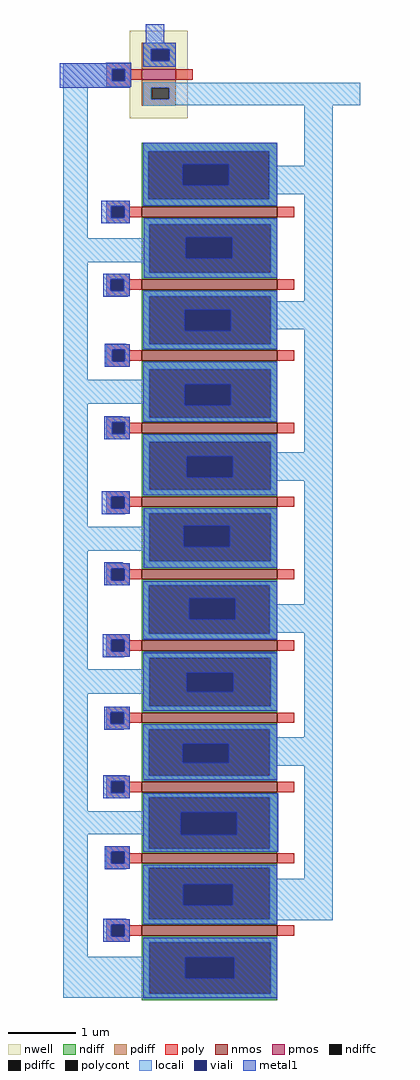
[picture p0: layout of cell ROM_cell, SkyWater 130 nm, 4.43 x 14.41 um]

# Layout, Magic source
magic
tech sky130A
<< nwell >>
rect -158 379 -72 508
<< nmos >>
rect -140 233 60 248
rect -140 126 60 141
rect -140 21 60 36
rect -140 -86 60 -71
rect -140 -195 60 -180
rect -140 -302 60 -287
rect -140 -407 60 -392
rect -140 -514 60 -499
rect -140 -616 60 -601
rect -140 -721 60 -706
rect -140 -828 60 -813
<< pmos >>
rect -140 436 -90 451
<< ndiff >>
rect -140 330 60 343
rect -140 259 -131 330
rect 48 259 60 330
rect -140 248 60 259
rect -140 222 60 233
rect -140 151 -129 222
rect 50 151 60 222
rect -140 141 60 151
rect -140 116 60 126
rect -140 45 -129 116
rect 50 45 60 116
rect -140 36 60 45
rect -140 8 60 21
rect -140 -63 -129 8
rect 50 -63 60 8
rect -140 -71 60 -63
rect -140 -99 60 -86
rect -140 -170 -129 -99
rect 50 -170 60 -99
rect -140 -180 60 -170
rect -140 -204 60 -195
rect -140 -275 -129 -204
rect 50 -275 60 -204
rect -140 -287 60 -275
rect -140 -311 60 -302
rect -140 -382 -130 -311
rect 49 -382 60 -311
rect -140 -392 60 -382
rect -140 -418 60 -407
rect -140 -489 -129 -418
rect 50 -489 60 -418
rect -140 -499 60 -489
rect -140 -523 60 -514
rect -140 -592 -130 -523
rect 49 -592 60 -523
rect -140 -601 60 -592
rect -140 -624 60 -616
rect -140 -700 -130 -624
rect 49 -700 60 -624
rect -140 -706 60 -700
rect -140 -728 60 -721
rect -140 -804 -130 -728
rect 49 -804 60 -728
rect -140 -813 60 -804
rect -140 -838 60 -828
rect -140 -914 -129 -838
rect 50 -914 60 -838
rect -140 -923 60 -914
<< pdiff >>
rect -140 481 -90 490
rect -140 464 -126 481
rect -100 464 -90 481
rect -140 451 -90 464
rect -140 424 -90 436
rect -140 407 -126 424
rect -100 407 -90 424
rect -140 397 -90 407
<< ndiffc >>
rect -131 259 48 330
rect -129 151 50 222
rect -129 45 50 116
rect -129 -63 50 8
rect -129 -170 50 -99
rect -129 -275 50 -204
rect -130 -382 49 -311
rect -129 -489 50 -418
rect -130 -592 49 -523
rect -130 -700 49 -624
rect -130 -804 49 -728
rect -129 -914 50 -838
<< pdiffc >>
rect -126 464 -100 481
rect -126 407 -100 424
<< poly >>
rect -193 451 -156 460
rect -193 434 -184 451
rect -165 436 -140 451
rect -90 436 -65 451
rect -165 434 -156 436
rect -193 425 -156 434
rect -193 249 -158 257
rect -193 232 -185 249
rect -166 248 -158 249
rect -166 233 -140 248
rect 60 233 85 248
rect -166 232 -158 233
rect -193 224 -158 232
rect -193 141 -158 149
rect -193 124 -186 141
rect -167 126 -140 141
rect 60 126 85 141
rect -167 124 -158 126
rect -193 116 -158 124
rect -193 37 -158 45
rect -193 20 -184 37
rect -165 36 -158 37
rect -165 21 -140 36
rect 60 21 85 36
rect -165 20 -158 21
rect -193 12 -158 20
rect -193 -70 -158 -62
rect -193 -87 -184 -70
rect -165 -71 -158 -70
rect -165 -86 -140 -71
rect 60 -86 85 -71
rect -165 -87 -158 -86
rect -193 -95 -158 -87
rect -193 -180 -158 -172
rect -193 -197 -185 -180
rect -166 -195 -140 -180
rect 60 -195 85 -180
rect -166 -197 -158 -195
rect -193 -205 -158 -197
rect -193 -286 -158 -278
rect -193 -303 -185 -286
rect -166 -287 -158 -286
rect -166 -302 -140 -287
rect 60 -302 85 -287
rect -166 -303 -158 -302
rect -193 -311 -158 -303
rect -193 -391 -158 -383
rect -193 -408 -185 -391
rect -166 -392 -158 -391
rect -166 -407 -140 -392
rect 60 -407 85 -392
rect -166 -408 -158 -407
rect -193 -416 -158 -408
rect -193 -498 -158 -490
rect -193 -515 -186 -498
rect -167 -499 -158 -498
rect -167 -514 -140 -499
rect 60 -514 85 -499
rect -167 -515 -158 -514
rect -193 -523 -158 -515
rect -193 -600 -158 -592
rect -193 -617 -185 -600
rect -166 -601 -158 -600
rect -166 -616 -140 -601
rect 60 -616 85 -601
rect -166 -617 -158 -616
rect -193 -625 -158 -617
rect -193 -704 -158 -696
rect -193 -721 -185 -704
rect -166 -706 -158 -704
rect -166 -721 -140 -706
rect 60 -721 85 -706
rect -193 -729 -158 -721
rect -193 -812 -158 -804
rect -193 -829 -185 -812
rect -166 -813 -158 -812
rect -166 -828 -140 -813
rect 60 -828 85 -813
rect -166 -829 -158 -828
rect -193 -837 -158 -829
<< polycont >>
rect -184 434 -165 451
rect -185 232 -166 249
rect -186 124 -167 141
rect -184 20 -165 37
rect -184 -87 -165 -70
rect -185 -197 -166 -180
rect -185 -303 -166 -286
rect -185 -408 -166 -391
rect -186 -515 -167 -498
rect -185 -617 -166 -600
rect -185 -721 -166 -704
rect -185 -829 -166 -812
<< locali >>
rect -138 481 -90 490
rect -138 464 -126 481
rect -100 464 -90 481
rect -256 451 -156 460
rect -138 455 -90 464
rect -256 434 -184 451
rect -165 434 -156 451
rect -256 425 -156 434
rect -138 431 -90 432
rect -256 424 -192 425
rect -138 424 182 431
rect -256 202 -220 424
rect -138 407 -126 424
rect -100 407 182 424
rect -138 398 182 407
rect -138 397 -90 398
rect -138 330 60 343
rect -138 259 -131 330
rect 48 309 60 330
rect 100 309 142 398
rect 48 267 142 309
rect 48 259 60 267
rect -193 249 -158 257
rect -138 250 60 259
rect -193 232 -185 249
rect -166 232 -158 249
rect -193 224 -158 232
rect -137 222 60 231
rect -137 202 -129 222
rect -256 166 -129 202
rect -256 -7 -220 166
rect -141 165 -129 166
rect -137 151 -129 165
rect 50 151 60 222
rect -193 141 -158 149
rect -137 143 60 151
rect -193 124 -186 141
rect -167 124 -158 141
rect -193 116 -158 124
rect -138 116 60 124
rect -138 45 -129 116
rect 50 109 60 116
rect 100 109 142 267
rect 50 67 142 109
rect 50 45 60 67
rect -193 37 -158 45
rect -138 38 60 45
rect -193 20 -184 37
rect -165 20 -158 37
rect -193 12 -158 20
rect -138 8 60 19
rect -138 -7 -129 8
rect -256 -43 -129 -7
rect -256 -224 -220 -43
rect -193 -70 -158 -62
rect -138 -63 -129 -43
rect 50 -63 60 8
rect -138 -69 60 -63
rect -193 -87 -184 -70
rect -165 -87 -158 -70
rect -193 -95 -158 -87
rect -138 -99 60 -88
rect -138 -170 -129 -99
rect 50 -114 60 -99
rect 100 -114 142 67
rect 50 -156 142 -114
rect 50 -170 60 -156
rect -193 -180 -158 -172
rect -138 -178 60 -170
rect -193 -197 -185 -180
rect -166 -197 -158 -180
rect -193 -205 -158 -197
rect -138 -204 60 -197
rect -138 -224 -129 -204
rect -256 -260 -129 -224
rect -256 -435 -220 -260
rect -138 -275 -129 -260
rect 50 -275 60 -204
rect -193 -286 -158 -278
rect -138 -285 60 -275
rect -193 -303 -185 -286
rect -166 -303 -158 -286
rect -193 -311 -158 -303
rect -138 -311 60 -304
rect -138 -382 -130 -311
rect 49 -339 60 -311
rect 100 -339 142 -156
rect 49 -381 142 -339
rect 49 -382 60 -381
rect -193 -391 -158 -383
rect -138 -390 60 -382
rect -193 -408 -185 -391
rect -166 -408 -158 -391
rect -193 -416 -158 -408
rect -138 -418 60 -409
rect -138 -435 -129 -418
rect -256 -471 -129 -435
rect -256 -644 -220 -471
rect -138 -489 -129 -471
rect 50 -489 60 -418
rect -193 -498 -158 -490
rect -138 -497 60 -489
rect -193 -515 -186 -498
rect -167 -515 -158 -498
rect -193 -523 -158 -515
rect -138 -523 60 -516
rect -138 -592 -130 -523
rect 49 -535 60 -523
rect 100 -535 142 -381
rect 49 -577 142 -535
rect 49 -592 60 -577
rect -193 -600 -158 -592
rect -138 -599 60 -592
rect -193 -617 -185 -600
rect -166 -617 -158 -600
rect -193 -625 -158 -617
rect -138 -624 60 -618
rect -138 -644 -130 -624
rect -256 -678 -130 -644
rect -256 -859 -220 -678
rect -140 -680 -130 -678
rect -193 -704 -158 -696
rect -138 -700 -130 -680
rect 49 -700 60 -624
rect -138 -704 60 -700
rect -193 -721 -185 -704
rect -166 -721 -158 -704
rect -193 -729 -158 -721
rect -138 -728 60 -723
rect -138 -804 -130 -728
rect 49 -744 60 -728
rect 100 -744 142 -577
rect 49 -804 142 -744
rect -193 -812 -158 -804
rect -138 -805 142 -804
rect -138 -811 60 -805
rect -193 -829 -185 -812
rect -166 -829 -158 -812
rect -193 -837 -158 -829
rect -138 -838 60 -830
rect -138 -859 -129 -838
rect -256 -914 -129 -859
rect 50 -914 60 -838
rect -256 -920 60 -914
rect -138 -921 60 -920
<< viali >>
rect -126 464 -100 481
rect -184 434 -165 451
rect -80 280 -12 311
rect -185 232 -166 249
rect -75 172 -7 203
rect -186 124 -167 141
rect -77 65 -9 96
rect -184 20 -165 37
rect -77 -45 -9 -14
rect -184 -87 -165 -70
rect -74 -151 -6 -120
rect -185 -197 -166 -180
rect -78 -254 -10 -223
rect -185 -303 -166 -286
rect -70 -361 -2 -330
rect -185 -408 -166 -391
rect -74 -468 -5 -440
rect -186 -515 -167 -498
rect -80 -573 -12 -545
rect -185 -617 -166 -600
rect -83 -679 0 -646
rect -185 -721 -166 -704
rect -79 -783 -6 -752
rect -185 -829 -166 -812
rect -76 -891 -4 -860
<< metal1 >>
rect -134 490 -107 518
rect -138 481 -90 490
rect -138 464 -126 481
rect -100 464 -90 481
rect -193 460 -156 461
rect -261 451 -156 460
rect -138 455 -90 464
rect -261 434 -184 451
rect -165 434 -156 451
rect -261 425 -156 434
rect -261 424 -157 425
rect -138 311 60 343
rect -138 280 -80 311
rect -12 280 60 311
rect -200 249 -158 257
rect -138 250 60 280
rect -200 232 -185 249
rect -166 232 -158 249
rect -200 224 -158 232
rect -137 203 60 231
rect -137 172 -75 203
rect -7 172 60 203
rect -197 141 -158 149
rect -137 143 60 172
rect -197 124 -186 141
rect -167 124 -158 141
rect -197 116 -158 124
rect -197 115 -161 116
rect -138 96 60 124
rect -138 65 -77 96
rect -9 65 60 96
rect -195 45 -163 46
rect -195 37 -158 45
rect -138 38 60 65
rect -195 20 -184 37
rect -165 20 -158 37
rect -195 12 -158 20
rect -138 -14 60 19
rect -138 -45 -77 -14
rect -9 -45 60 -14
rect -196 -62 -169 -61
rect -196 -70 -158 -62
rect -138 -69 60 -45
rect -196 -87 -184 -70
rect -165 -87 -158 -70
rect -196 -95 -158 -87
rect -138 -120 60 -88
rect -138 -151 -74 -120
rect -6 -151 60 -120
rect -199 -180 -158 -172
rect -138 -178 60 -151
rect -199 -197 -185 -180
rect -166 -197 -158 -180
rect -199 -205 -158 -197
rect -199 -206 -165 -205
rect -137 -223 60 -197
rect -137 -254 -78 -223
rect -10 -254 60 -223
rect -196 -278 -168 -277
rect -196 -286 -158 -278
rect -137 -285 60 -254
rect -196 -303 -185 -286
rect -166 -303 -158 -286
rect -196 -311 -158 -303
rect -138 -330 60 -305
rect -138 -361 -70 -330
rect -2 -361 60 -330
rect -198 -391 -158 -383
rect -138 -391 60 -361
rect -198 -408 -185 -391
rect -166 -408 -158 -391
rect -198 -416 -158 -408
rect -198 -417 -166 -416
rect -138 -440 60 -410
rect -138 -468 -74 -440
rect -5 -468 60 -440
rect -196 -498 -158 -490
rect -138 -496 60 -468
rect -196 -515 -186 -498
rect -167 -515 -158 -498
rect -196 -523 -158 -515
rect -196 -524 -167 -523
rect -138 -545 60 -516
rect -138 -573 -80 -545
rect -12 -573 60 -545
rect -197 -592 -163 -591
rect -197 -600 -158 -592
rect -138 -598 60 -573
rect -197 -617 -185 -600
rect -166 -617 -158 -600
rect -197 -625 -158 -617
rect -138 -646 61 -618
rect -138 -679 -83 -646
rect 0 -679 61 -646
rect -195 -704 -158 -696
rect -138 -704 61 -679
rect -195 -721 -185 -704
rect -166 -721 -158 -704
rect -195 -729 -158 -721
rect -195 -730 -163 -729
rect -138 -752 60 -723
rect -138 -783 -79 -752
rect -6 -783 60 -752
rect -197 -804 -164 -803
rect -197 -812 -158 -804
rect -138 -811 60 -783
rect -197 -829 -185 -812
rect -166 -829 -158 -812
rect -197 -837 -158 -829
rect -138 -860 60 -831
rect -138 -891 -76 -860
rect -4 -891 60 -860
rect -138 -920 60 -891
<< end >>
